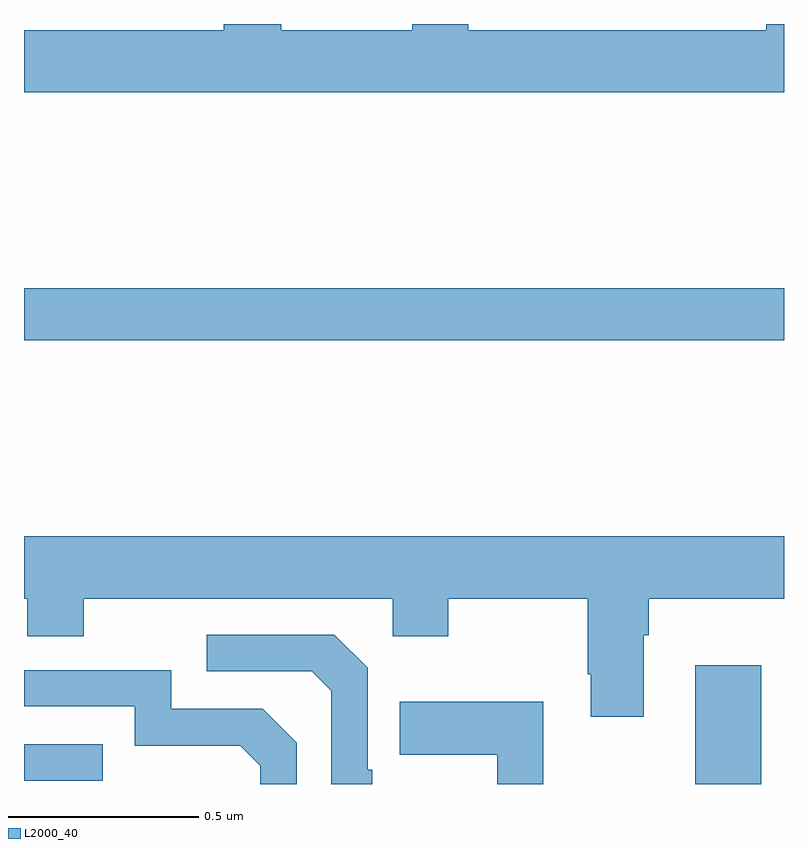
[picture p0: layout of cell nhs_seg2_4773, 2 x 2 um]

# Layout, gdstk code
import gdstk
lib = gdstk.Library(unit=1e-6, precision=1e-09)
def R(c, l, rs):  # rectangles x0, y0, x1, y1
    for r in rs: c.add(gdstk.rectangle(r[:2], r[2:], *l))
def P(c, l, *ps):  # polygons
    for p in ps: c.add(gdstk.Polygon(p, *l))
L2000_40 = (2000, 40)

nhs_seg2_4773 = lib.new_cell('nhs_seg2_4773')
R(nhs_seg2_4773, L2000_40, [(171.767,661.8,171.94,662.113), (170,661.809,170.207,661.905), (170,662.968,172,663.104)])
P(nhs_seg2_4773, L2000_40, [(172,663.8),(171.953,663.8),(171.953,663.784),(171.169,663.784),(171.169,663.8),(171.022,663.8),(171.022,663.784),(170.677,663.784),(170.677,663.8),(170.525,663.8),(170.525,663.784),(170,663.784),(170,663.62),(172,663.62)],
  [(171.631,662.192),(171.644,662.192),(171.644,662.288),(172,662.288),(172,662.452),(170,662.452),(170,662.288),(170.009,662.288),(170.009,662.189),(170.157,662.189),(170.157,662.288),(170.97,662.288),(170.97,662.189),(171.117,662.189),(171.117,662.288),(171.484,662.288),(171.484,662.089),(171.491,662.089),(171.491,661.977),(171.631,661.977)],
  [(170.917,661.837),(170.904,661.837),(170.904,662.106),(170.817,662.193),(170.481,662.193),(170.481,662.097),(170.757,662.097),(170.808,662.046),(170.808,661.8),(170.917,661.8)],
  [(170.718,661.908),(170.628,661.998),(170.388,661.998),(170.388,662.1),(170,662.1),(170,662.004),(170.292,662.004),(170.292,661.901),(170.569,661.901),(170.622,661.848),(170.622,661.8),(170.718,661.8)],
  [(171.367,662.017),(170.989,662.017),(170.989,661.877),(171.246,661.877),(171.246,661.8),(171.367,661.8)])

lib.write_gds('nhs_seg2_4773.gds')
